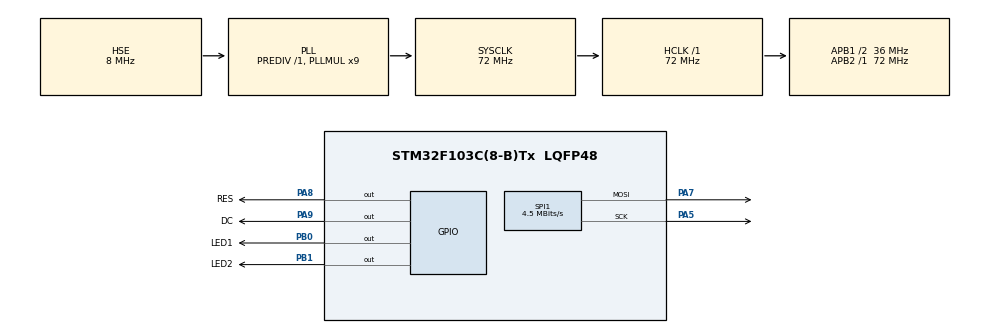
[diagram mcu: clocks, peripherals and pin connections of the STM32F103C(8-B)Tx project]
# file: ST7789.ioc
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Mcu.Family=STM32F1
Mcu.Name=STM32F103C(8-B)Tx
Mcu.Package=LQFP48
NVIC.PriorityGroup=NVIC_PRIORITYGROUP_4
PA5.Mode=TX_Only_Simplex_Unidirect_Master
PA5.Signal=SPI1_SCK
PA7.Mode=TX_Only_Simplex_Unidirect_Master
PA7.Signal=SPI1_MOSI
PA8.GPIO_Label=RES
PA8.Signal=GPIO_Output
PA9.GPIO_Label=DC
PA9.Signal=GPIO_Output
PB0.GPIO_Label=LED1
PB0.Signal=GPIO_Output
PB1.GPIO_Label=LED2
PB1.Signal=GPIO_Output
PD0-OSC_IN.Mode=HSE-External-Oscillator
PD0-OSC_IN.Signal=RCC_OSC_IN
PD1-OSC_OUT.Mode=HSE-External-Oscillator
PD1-OSC_OUT.Signal=RCC_OSC_OUT
ProjectManager.HeapSize=0x200
ProjectManager.StackSize=0x400
ProjectManager.TargetToolchain=MDK-ARM V5.32
RCC.AHBFreq_Value=72000000
RCC.APB1CLKDivider=RCC_HCLK_DIV2
RCC.APB1Freq_Value=36000000
RCC.APB1TimFreq_Value=72000000
RCC.APB2Freq_Value=72000000
RCC.APB2TimFreq_Value=72000000
RCC.HCLKFreq_Value=72000000
RCC.PLLMUL=RCC_PLL_MUL9
RCC.PLLSourceVirtual=RCC_PLLSOURCE_HSE
RCC.SYSCLKFreq_VALUE=72000000
RCC.SYSCLKSource=RCC_SYSCLKSOURCE_PLLCLK
RCC.USBFreq_Value=72000000
SPI1.BaudRatePrescaler=SPI_BAUDRATEPRESCALER_16
SPI1.CLKPhase=SPI_PHASE_2EDGE
SPI1.CLKPolarity=SPI_POLARITY_HIGH
SPI1.CalculateBaudRate=4.5 MBits/s
SPI1.Direction=SPI_DIRECTION_2LINES
SPI1.Mode=SPI_MODE_MASTER
SPI1.VirtualType=VM_MASTER
VP_SYS_VS_ND.Mode=No_Debug
board=custom

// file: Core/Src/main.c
/* USER CODE BEGIN Header */
/**
  ******************************************************************************
  * @file           : main.c
  * @brief          : Main program body
  ******************************************************************************
  * @attention
  *
  * Copyright (c) 2024 STMicroelectronics.
  * All rights reserved.
  *
  * This software is licensed under terms that can be found in the LICENSE file
  * in the root directory of this software component.
  * If no LICENSE file comes with this software, it is provided AS-IS.
  *
  ******************************************************************************
  */
/* USER CODE END Header */
#include "main.h"
#include "spi.h"
#include "gpio.h"

/* USER CODE BEGIN Includes */
#include "lcd.h"
/* USER CODE END Includes */

void SystemClock_Config(void);

int main(void)
{

  /* MCU Configuration--------------------------------------------------------*/

  /* Reset of all peripherals, Initializes the Flash interface and the Systick. */
  HAL_Init();

  /* Configure the system clock */
  SystemClock_Config();

  /* Initialize all configured peripherals */
  MX_GPIO_Init();
  MX_SPI1_Init();
  /* USER CODE BEGIN 2 */
    LCD_Init();
    LCD_Clear(YELLOW);
    BACK_COLOR 	= BLUE;

    LCD_ShowString(0,0,240,32,32,"NIHAO");
    LCD_ShowChar(220, 0, 'S', 32);

    LCD_ShowxNum(0, 32, 123, 4, 32, 1);//1����λ��ʾ0
    LCD_ShowNum(160,96,456,3,32);

    POINT_COLOR = RED;
    LCD_DrawLine(0,0,239,239);

    LCD_Fill(50, 150, 100, 200, GREEN);
    LCD_DrawRectangle(100, 150, 150, 200);
    LCD_Draw_Circle(100, 100, 50);

    LCD_Draw_Point(200, 10);
    LCD_Draw_ColorPoint(200, 11,BLUE);

    PutChinese(0,120,(uint8_t *)"��",0);
    PutChinese_strings(0,200,(uint8_t *)"������",0);

  /* USER CODE END 2 */

  /* Infinite loop */
  /* USER CODE BEGIN WHILE */
  while (1)
  {

      HAL_GPIO_WritePin(LED1_GPIO_Port,LED1_Pin,GPIO_PIN_SET);
      HAL_GPIO_WritePin(LED2_GPIO_Port,LED2_Pin,GPIO_PIN_SET);
      HAL_Delay(1000);
      HAL_GPIO_WritePin(LED1_GPIO_Port,LED1_Pin,GPIO_PIN_RESET);
      HAL_GPIO_WritePin(LED2_GPIO_Port,LED2_Pin,GPIO_PIN_RESET);
      HAL_Delay(1000);

    /* USER CODE END WHILE */

  }
}

void SystemClock_Config(void)
{
  RCC_OscInitTypeDef RCC_OscInitStruct = {0};
  RCC_ClkInitTypeDef RCC_ClkInitStruct = {0};

  /** Initializes the RCC Oscillators according to the specified parameters
  * in the RCC_OscInitTypeDef structure.
  */
  RCC_OscInitStruct.OscillatorType = RCC_OSCILLATORTYPE_HSE;
  RCC_OscInitStruct.HSEState = RCC_HSE_ON;
  RCC_OscInitStruct.HSEPredivValue = RCC_HSE_PREDIV_DIV1;
  RCC_OscInitStruct.HSIState = RCC_HSI_ON;
  RCC_OscInitStruct.PLL.PLLState = RCC_PLL_ON;
  RCC_OscInitStruct.PLL.PLLSource = RCC_PLLSOURCE_HSE;
  RCC_OscInitStruct.PLL.PLLMUL = RCC_PLL_MUL9;
  if (HAL_RCC_OscConfig(&RCC_OscInitStruct) != HAL_OK)
  {
    Error_Handler();
  }

  /** Initializes the CPU, AHB and APB buses clocks
  */
  RCC_ClkInitStruct.ClockType = RCC_CLOCKTYPE_HCLK|RCC_CLOCKTYPE_SYSCLK
                              |RCC_CLOCKTYPE_PCLK1|RCC_CLOCKTYPE_PCLK2;
  RCC_ClkInitStruct.SYSCLKSource = RCC_SYSCLKSOURCE_PLLCLK;
  RCC_ClkInitStruct.AHBCLKDivider = RCC_SYSCLK_DIV1;
  RCC_ClkInitStruct.APB1CLKDivider = RCC_HCLK_DIV2;
  RCC_ClkInitStruct.APB2CLKDivider = RCC_HCLK_DIV1;

  if (HAL_RCC_ClockConfig(&RCC_ClkInitStruct, FLASH_LATENCY_2) != HAL_OK)
  {
    Error_Handler();
  }
}

/* USER CODE BEGIN 4 */
uint8_t SPI1_WriteByte(uint8_t* data,uint16_t size){
    return HAL_SPI_Transmit(&hspi1,data,size,0XFF);
}
/* USER CODE END 4 */

void Error_Handler(void)
{
  __disable_irq();
  while (1)
  {
  }
}
